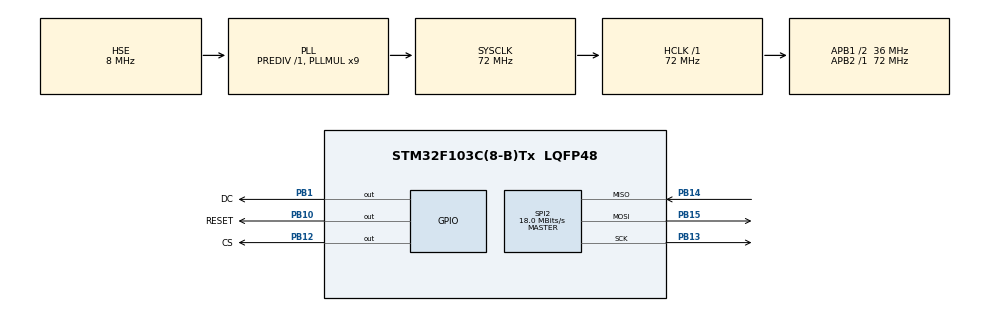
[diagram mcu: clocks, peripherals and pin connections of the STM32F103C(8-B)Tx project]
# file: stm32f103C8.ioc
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Dma.Request0=SPI2_RX
Dma.Request1=SPI2_TX
Dma.SPI2_RX.0.Direction=DMA_PERIPH_TO_MEMORY
Dma.SPI2_RX.0.Instance=DMA1_Channel4
Dma.SPI2_RX.0.MemDataAlignment=DMA_MDATAALIGN_BYTE
Dma.SPI2_RX.0.MemInc=DMA_MINC_ENABLE
Dma.SPI2_RX.0.Mode=DMA_NORMAL
Dma.SPI2_RX.0.PeriphDataAlignment=DMA_PDATAALIGN_BYTE
Dma.SPI2_RX.0.PeriphInc=DMA_PINC_DISABLE
Dma.SPI2_RX.0.Priority=DMA_PRIORITY_LOW
Dma.SPI2_TX.1.Direction=DMA_MEMORY_TO_PERIPH
Dma.SPI2_TX.1.Instance=DMA1_Channel5
Dma.SPI2_TX.1.MemDataAlignment=DMA_MDATAALIGN_BYTE
Dma.SPI2_TX.1.MemInc=DMA_MINC_ENABLE
Dma.SPI2_TX.1.Mode=DMA_NORMAL
Dma.SPI2_TX.1.PeriphDataAlignment=DMA_PDATAALIGN_BYTE
Dma.SPI2_TX.1.PeriphInc=DMA_PINC_DISABLE
Dma.SPI2_TX.1.Priority=DMA_PRIORITY_LOW
Mcu.Family=STM32F1
Mcu.Name=STM32F103C(8-B)Tx
Mcu.Package=LQFP48
NVIC.DMA1_Channel4_IRQn=true\:0\:0\:false\:false\:true\:false\:true
NVIC.DMA1_Channel5_IRQn=true\:0\:0\:false\:false\:true\:false\:true
NVIC.PriorityGroup=NVIC_PRIORITYGROUP_2
NVIC.SPI2_IRQn=true\:0\:0\:false\:false\:true\:true\:true
PA13.Mode=Serial_Wire
PA13.Signal=SYS_JTMS-SWDIO
PA14.Mode=Serial_Wire
PA14.Signal=SYS_JTCK-SWCLK
PB1.GPIO_Label=DC
PB1.GPIO_Speed=GPIO_SPEED_FREQ_HIGH
PB1.Signal=GPIO_Output
PB10.GPIO_Label=RESET
PB10.GPIO_Speed=GPIO_SPEED_FREQ_HIGH
PB10.Signal=GPIO_Output
PB12.GPIO_Label=CS
PB12.GPIO_Speed=GPIO_SPEED_FREQ_HIGH
PB12.PinState=GPIO_PIN_SET
PB12.Signal=GPIO_Output
PB13.Mode=Full_Duplex_Master
PB13.Signal=SPI2_SCK
PB14.Mode=Full_Duplex_Master
PB14.Signal=SPI2_MISO
PB15.Mode=Full_Duplex_Master
PB15.Signal=SPI2_MOSI
PC14-OSC32_IN.Mode=LSE-External-Oscillator
PC14-OSC32_IN.Signal=RCC_OSC32_IN
PC15-OSC32_OUT.Mode=LSE-External-Oscillator
PC15-OSC32_OUT.Signal=RCC_OSC32_OUT
PD0-OSC_IN.Mode=HSE-External-Oscillator
PD0-OSC_IN.Signal=RCC_OSC_IN
PD1-OSC_OUT.Mode=HSE-External-Oscillator
PD1-OSC_OUT.Signal=RCC_OSC_OUT
ProjectManager.HeapSize=0x200
ProjectManager.StackSize=0x400
ProjectManager.TargetToolchain=MDK-ARM V5
RCC.AHBFreq_Value=72000000
RCC.APB1CLKDivider=RCC_HCLK_DIV2
RCC.APB1Freq_Value=36000000
RCC.APB1TimFreq_Value=72000000
RCC.APB2Freq_Value=72000000
RCC.APB2TimFreq_Value=72000000
RCC.EnbaleCSS=true
RCC.HCLKFreq_Value=72000000
RCC.PLLMUL=RCC_PLL_MUL9
RCC.PLLSourceVirtual=RCC_PLLSOURCE_HSE
RCC.SYSCLKFreq_VALUE=72000000
RCC.SYSCLKSource=RCC_SYSCLKSOURCE_PLLCLK
RCC.USBFreq_Value=72000000
SPI2.CLKPhase=SPI_PHASE_2EDGE
SPI2.CLKPolarity=SPI_POLARITY_HIGH
SPI2.CalculateBaudRate=18.0 MBits/s
SPI2.Direction=SPI_DIRECTION_2LINES
SPI2.Mode=SPI_MODE_MASTER
SPI2.VirtualType=VM_MASTER
board=custom

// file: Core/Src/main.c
/* USER CODE BEGIN Header */
/**
  ******************************************************************************
  * @file           : main.c
  * @brief          : Main program body
  ******************************************************************************
  * @attention
  *
  * <h2><center>&copy; Copyright (c) 2021 STMicroelectronics.
  * All rights reserved.</center></h2>
  *
  * This software component is licensed by ST under BSD 3-Clause license,
  * the "License"; You may not use this file except in compliance with the
  * License. You may obtain a copy of the License at:
  *                        opensource.org/licenses/BSD-3-Clause
  *
  ******************************************************************************
  */
/* USER CODE END Header */
#include "main.h"
#include "dma.h"
#include "spi.h"
#include "gpio.h"

/* USER CODE BEGIN Includes */
#include "oled.h"
#include "bmp.h"

/* USER CODE END Includes */

void SystemClock_Config(void);

int main(void)
{

  /* MCU Configuration--------------------------------------------------------*/

  /* Reset of all peripherals, Initializes the Flash interface and the Systick. */
  HAL_Init();

  /* Configure the system clock */
  SystemClock_Config();

  /* Initialize all configured peripherals */
  MX_GPIO_Init();
  MX_DMA_Init();
  MX_SPI2_Init();
  /* USER CODE BEGIN 2 */
  OLED_Init();
  /* USER CODE END 2 */

  /* Infinite loop */
  /* USER CODE BEGIN WHILE */
  OLED_Clear();
  while (1)
  {
    OLED_ShowString(0, 0, (uint8_t *)"Hello world!");

    HAL_Delay(2000);
    OLED_Clear();
    OLED_ShowCHinese(0, 0, 0);  //嵌
    OLED_ShowCHinese(18, 0, 1); //入
    OLED_ShowCHinese(36, 0, 2); //式
    OLED_ShowCHinese(54, 0, 3); //开
    OLED_ShowCHinese(72, 0, 4); //发
    OLED_ShowCHinese(90, 0, 5); //网
    HAL_Delay(2000);
    OLED_Clear();

    OLED_DrawBMP(0, 0, 128, 8, BMP1);
    HAL_Delay(2000);
    OLED_Clear();
    OLED_DrawBMP(0, 0, 128, 8, BMP2);
    HAL_Delay(2000);
    OLED_Clear();
    OLED_DrawBMP(0, 0, 128, 8, BMP3);
    HAL_Delay(2000);
    OLED_Clear();
    OLED_DrawBMP(0, 0, 128, 8, BMP4);
    HAL_Delay(2000);
    OLED_Clear();
    OLED_DrawBMP(0, 0, 128, 8, BMP5);
    HAL_Delay(2000);
    OLED_Clear();
    OLED_DrawBMP(0, 0, 128, 8, BMP6);
    HAL_Delay(2000);
    OLED_Clear();
    /* USER CODE END WHILE */

  }
}

void SystemClock_Config(void)
{
  RCC_OscInitTypeDef RCC_OscInitStruct = {0};
  RCC_ClkInitTypeDef RCC_ClkInitStruct = {0};

  /** Initializes the RCC Oscillators according to the specified parameters
  * in the RCC_OscInitTypeDef structure.
  */
  RCC_OscInitStruct.OscillatorType = RCC_OSCILLATORTYPE_HSE;
  RCC_OscInitStruct.HSEState = RCC_HSE_ON;
  RCC_OscInitStruct.HSEPredivValue = RCC_HSE_PREDIV_DIV1;
  RCC_OscInitStruct.HSIState = RCC_HSI_ON;
  RCC_OscInitStruct.PLL.PLLState = RCC_PLL_ON;
  RCC_OscInitStruct.PLL.PLLSource = RCC_PLLSOURCE_HSE;
  RCC_OscInitStruct.PLL.PLLMUL = RCC_PLL_MUL9;
  if (HAL_RCC_OscConfig(&RCC_OscInitStruct) != HAL_OK)
  {
    Error_Handler();
  }
  /** Initializes the CPU, AHB and APB buses clocks
  */
  RCC_ClkInitStruct.ClockType = RCC_CLOCKTYPE_HCLK | RCC_CLOCKTYPE_SYSCLK | RCC_CLOCKTYPE_PCLK1 | RCC_CLOCKTYPE_PCLK2;
  RCC_ClkInitStruct.SYSCLKSource = RCC_SYSCLKSOURCE_PLLCLK;
  RCC_ClkInitStruct.AHBCLKDivider = RCC_SYSCLK_DIV1;
  RCC_ClkInitStruct.APB1CLKDivider = RCC_HCLK_DIV2;
  RCC_ClkInitStruct.APB2CLKDivider = RCC_HCLK_DIV1;

  if (HAL_RCC_ClockConfig(&RCC_ClkInitStruct, FLASH_LATENCY_2) != HAL_OK)
  {
    Error_Handler();
  }
  /** Enables the Clock Security System
  */
  HAL_RCC_EnableCSS();
}

void Error_Handler(void)
{
  __disable_irq();
  while (1)
  {
  }
}

/************************ (C) COPYRIGHT STMicroelectronics *****END OF FILE****/
